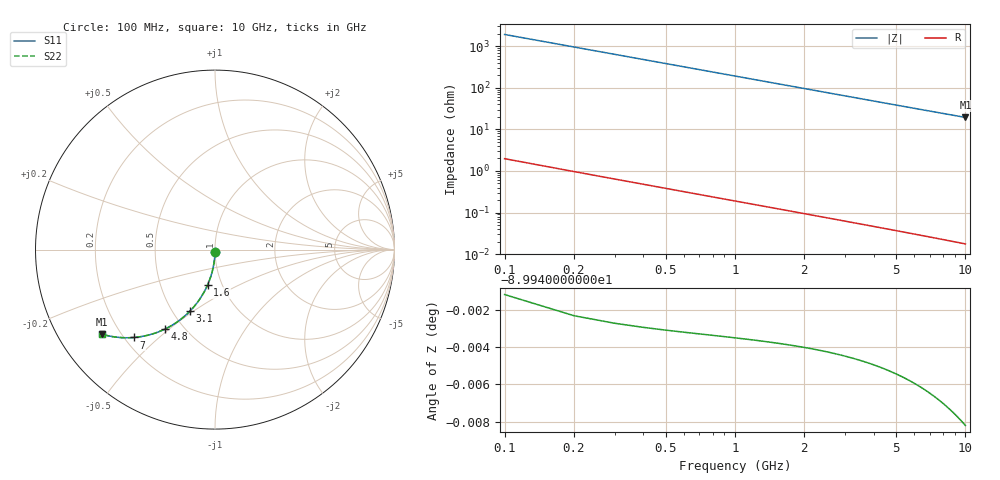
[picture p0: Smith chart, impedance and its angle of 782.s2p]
# Hz S RI R 50.00
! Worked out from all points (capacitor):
!   100 points, 100 MHz to 10 GHz, reference 50 ohm
!   read as one part in shunt: C = 827 fF near 100 MHz
!   lowest |Z| = 19.4 ohm at 10 GHz (marker M1)
!   S11 on the Smith chart (normalised r, x): 100 MHz: 1.00, -0.03; 1.6 GHz: 0.85, -0.35; 3.1 GHz: 0.61, -0.48; 4.8 GHz: 0.39, -0.48; 7 GHz: 0.24, -0.42; 10 GHz: 0.13, -0.33
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1e8  -0.000108 -0.0129  0.9997 -0.0131  0.9997 -0.0131  -0.000108 -0.0129
2e8  -0.000627 -0.0258  0.9992 -0.0262  0.9992 -0.0262  -0.000627 -0.0258
3e8  -0.00148 -0.0386  0.9984 -0.0393  0.9984 -0.0393  -0.00148 -0.0386
4e8  -0.00267 -0.0514  0.9972 -0.0523  0.9972 -0.0523  -0.00267 -0.0514
5e8  -0.00419 -0.0642  0.9957 -0.0652  0.9957 -0.0652  -0.00419 -0.0642
6e8  -0.00604 -0.0768  0.9938 -0.0781  0.9938 -0.0781  -0.00604 -0.0768
7e8  -0.00822 -0.0895  0.9916 -0.091  0.9916 -0.091  -0.00822 -0.0895
9e8  -0.0135 -0.1144  0.9863 -0.1163  0.9863 -0.1163  -0.0135 -0.1144
1.2e9  -0.0238 -0.1509  0.976 -0.1535  0.976 -0.1535  -0.0238 -0.1509
1.6e9  -0.0416 -0.1975  0.9583 -0.201  0.9583 -0.201  -0.0416 -0.1975
1.8e9  -0.052 -0.2198  0.9478 -0.2237  0.9478 -0.2237  -0.052 -0.2198
2.4e9  -0.0888 -0.2815  0.911 -0.2867  0.911 -0.2867  -0.0888 -0.2815
3.1e9  -0.1399 -0.3431  0.86 -0.3498  0.86 -0.3498  -0.1399 -0.3431
3.4e9  -0.1636 -0.3658  0.8362 -0.3732  0.8362 -0.3732  -0.1636 -0.3658
4.1e9  -0.2214 -0.4103  0.7784 -0.4192  0.7784 -0.4192  -0.2214 -0.4103
4.8e9  -0.2805 -0.4435  0.7193 -0.454  0.7193 -0.454  -0.2805 -0.4435
5.1e9  -0.3056 -0.4546  0.6942 -0.4658  0.6942 -0.4658  -0.3056 -0.4546
5.9e9  -0.3707 -0.4761  0.629 -0.489  0.629 -0.489  -0.3707 -0.4761
6.7e9  -0.4318 -0.4875  0.5679 -0.5022  0.5679 -0.5022  -0.4318 -0.4875
7e9  -0.4535 -0.4897  0.5463 -0.505  0.5463 -0.505  -0.4535 -0.4897
8.4e9  -0.5446 -0.4883  0.455 -0.5067  0.455 -0.5067  -0.5446 -0.4883
1e10  -0.6293 -0.4714  0.3703 -0.4934  0.3703 -0.4934  -0.6293 -0.4714
